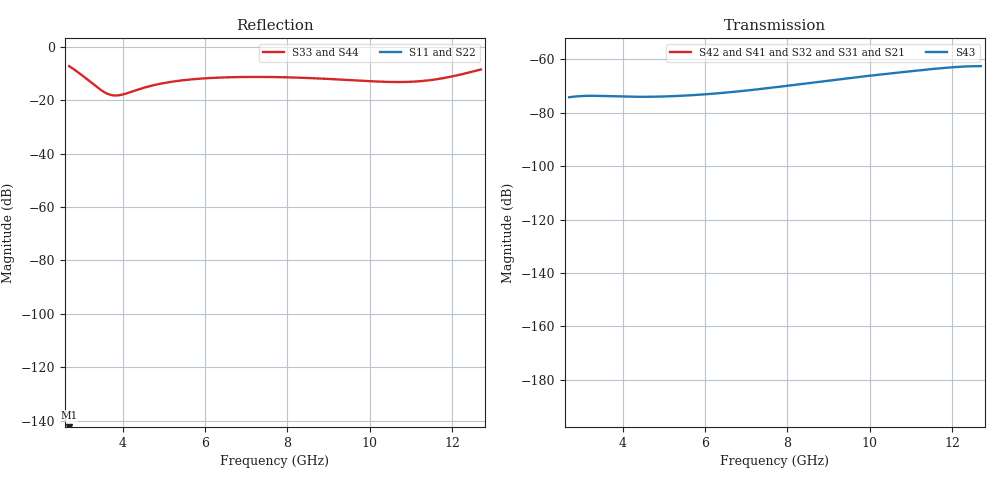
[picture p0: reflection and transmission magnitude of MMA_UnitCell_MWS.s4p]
! Touchstone data
! Created: 02-Feb-2025 by IdEM 2024 (2024.1.0)
! COMMENTS
!  TOUCHSTONE file generated by CST MICROWAVE STUDIO
!  Date and time: Sun Feb  2 22:12:49 2025
!  Project name: MMA_UnitCell.cst
!  Parameters = {a=0.5; d=0.035; h=9; p=3; phi=0; r_1=2; r_2=2.7; s=0.2; t=0.2; theta=0; w=12}
!  Header version: 2024
!  Port assignment regex: !\s*Touchstone port\s*([0-9]+)\s*=\s*(CST MWS port|CST DES external port|CST DES block port)\s*(.+)\s* \(\"(.*)\"\)(\s*mode\s*([0-9]+))?.*
!  Touchstone port assignment:
!  Touchstone port 1 = CST MWS port Zmin ("") mode 1
!  Touchstone port 2 = CST MWS port Zmin ("") mode 2
!  Touchstone port 3 = CST MWS port Zmax ("") mode 1
!  Touchstone port 4 = CST MWS port Zmax ("") mode 2
!  S-Parameters are not renormalized. Each port impedance will be approximated by the real part at minimum frequency. The values are described via the [Reference] keyword.
!  Default impedance is overridden by [Reference]
# GHz S MA R 376.73
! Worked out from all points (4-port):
!   1001 points, 2.7 GHz to 12.7 GHz, reference per port
!   strongest paths, dB at 2.7 GHz, 5.2 GHz, 7.7 GHz, 10.2 GHz, 12.7 GHz:
!     S43: -74.2, -73.8, -70.5, -65.8, -62.6
!     S42: -, -, -, -, -
!     S41: -, -, -, -, -
!     S32: -, -, -, -, -
!     S31: -, -, -, -, -
!     S21: -, -, -, -, -
!   lowest |S11| = - dB at 2.7 GHz (marker M1), VSWR 1.00
!   |S11| at or under -10 dB: start of sweep to end of sweep
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2.7  0 0.0  0 0.0  0 0.0  0 0.0
     0 0.0  0 0.0  0 0.0  0 0.0
     0 0.0  0 0.0  0.4333 34.9  0.0001953 5.7
     0 0.0  0 0.0  0.000195 5.8  0.435 34.8
3.19  0 0.0  0 0.0  4e-66 180.0  4e-66 180.0
      0 0.0  0 0.0  4e-66 180.0  4e-66 180.0
      0 0.0  0 0.0  0.2289 23.8  0.0002072 -37.2
      0 0.0  0 0.0  0.0002072 -37.2  0.2296 23.3
3.83  0 0.0  0 0.0  2e-66 180.0  2e-66 180.0
      0 0.0  0 0.0  2e-66 180.0  2e-66 180.0
      0 0.0  0 0.0  0.1224 52.7  0.0002022 -78.7
      0 0.0  0 0.0  0.0002023 -78.7  0.121 52.3
5.91  0 0.0  0 0.0  1e-66 180.0  1e-66 180.0
      0 0.0  0 0.0  1e-66 180.0  1e-66 180.0
      0 0.0  0 0.0  0.2537 45.3  0.0002186 -161.9
      0 0.0  0 0.0  0.0002186 -161.8  0.2531 45.5
7.74  0 0.0  0 0.0  0 0.0  0 0.0
      0 0.0  0 0.0  0 0.0  0 0.0
      0 0.0  0 0.0  0.2706 0.9  0.000302 139.2
      0 0.0  0 0.0  0.000302 139.1  0.2704 1.1
10.92  0 0.0  0 0.0  3e-66 0.0  3e-66 0.0
       0 0.0  0 0.0  3e-66 0.0  3e-66 0.0
       0 0.0  0 0.0  0.22 -48.9  0.0005894 24.5
       0 0.0  0 0.0  0.0005894 24.4  0.2202 -48.8
12.7  0 0.0  0 0.0  4e-66 0.0  4e-66 0.0
      0 0.0  0 0.0  4e-66 0.0  4e-66 0.0
      0 0.0  0 0.0  0.3761 -63.2  0.000744 -60.4
      0 0.0  0 0.0  0.0007439 -60.4  0.3764 -63.2
